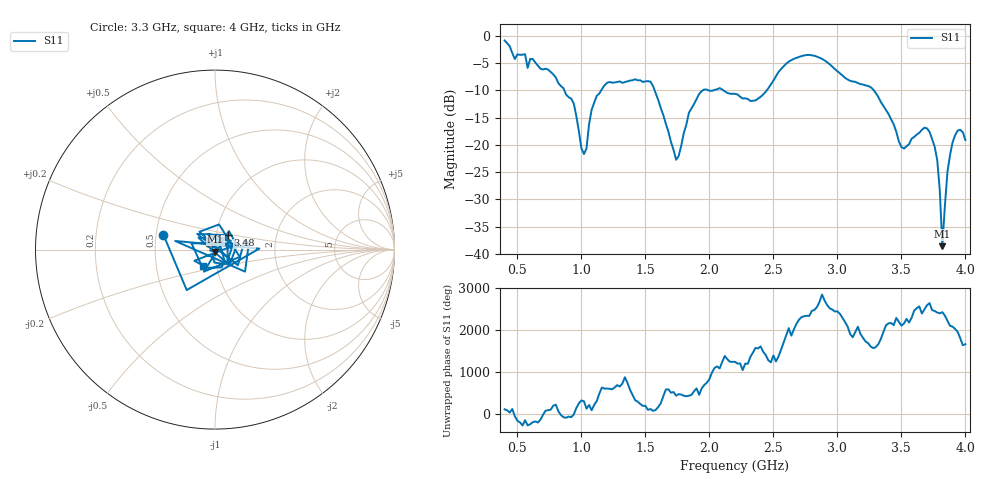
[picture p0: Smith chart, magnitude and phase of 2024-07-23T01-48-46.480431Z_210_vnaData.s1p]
!Created with skrf (http://scikit-rf.org).
# Hz S RI R 50.0
!freq ReS11 ImS11
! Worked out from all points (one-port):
!   181 points, 400 MHz to 4 GHz, reference 50 ohm
!   lowest |S11| = -38.6 dB at 3.82 GHz (marker M1), VSWR 1.02, Z = 50.1 - j1.17 ohm
!   |S11| at or under -10 dB: 1.573 GHz to 1.948 GHz (375.2 MHz wide, 21.3 % of centre); 2.111 GHz to 2.448 GHz (336.9 MHz wide, 14.8 % of centre); 3.285 GHz to end of sweep (the widest 3 of 5)
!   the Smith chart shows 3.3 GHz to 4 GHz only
!   S11 on the Smith chart (normalised r, x): 3.3 GHz: 0.55, +0.10; 3.48 GHz: 1.14, +0.18; 4 GHz: 0.86, -0.15
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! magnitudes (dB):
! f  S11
! 400 MHz  -0.8
! 480 MHz  -4.2
! 860 MHz  -9.6
! 940 MHz  -12.4
! 1.02 GHz  -21.7
! 1.12 GHz  -11.0
! 1.3 GHz  -8.3
! 1.54 GHz  -8.4
! 1.74 GHz  -22.7
! 1.76 GHz  -22.0
! 1.84 GHz  -14.1
! 1.94 GHz  -10.1
! 2.2 GHz  -10.6
! 2.36 GHz  -11.8
! 2.66 GHz  -4.2
! 2.84 GHz  -3.8
! 3.1 GHz  -8.2
! 3.3 GHz  -10.5
! 3.48 GHz  -19.3
! 3.56 GHz  -19.9
! 3.68 GHz  -16.8
! 3.76 GHz  -20.3
! 3.8 GHz  -28.4
! 3.82 GHz  -38.6
! 3.86 GHz  -24.9
! 3.9 GHz  -19.5
! 3.96 GHz  -17.2
! 4 GHz  -19.1
